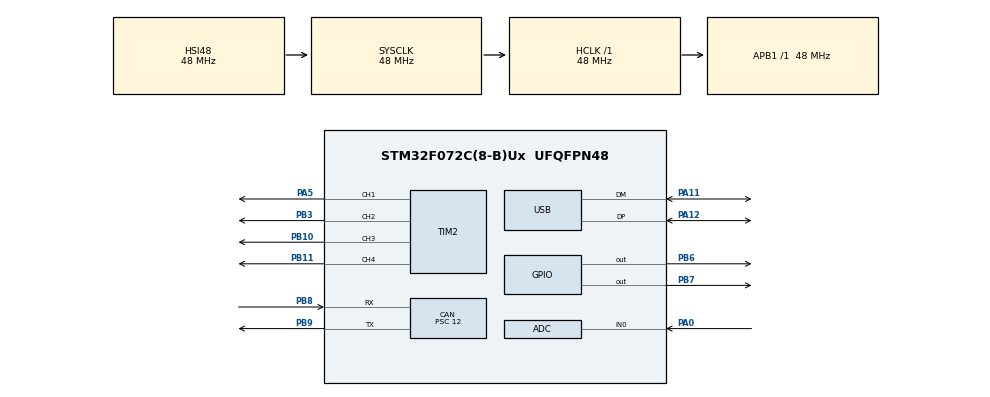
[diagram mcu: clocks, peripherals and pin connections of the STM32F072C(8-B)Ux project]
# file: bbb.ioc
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ADC.ClockPrescaler=ADC_CLOCK_ASYNC_DIV1
ADC.EnableAnalogWatchDog=false
CAN.BS1=CAN_BS1_2TQ
CAN.CalculateBaudRate=1000000
CAN.CalculateTimeBit=1000
CAN.CalculateTimeQuantum=250.0
CAN.Prescaler=12
CAN.RFLM=DISABLE
CAN.SJW=CAN_SJW_1TQ
Mcu.Family=STM32F0
Mcu.Name=STM32F072C(8-B)Ux
Mcu.Package=UFQFPN48
NVIC.ADC1_COMP_IRQn=true\:0\:0\:false\:false\:true\:true\:true\:true
NVIC.CEC_CAN_IRQn=true\:0\:0\:false\:false\:true\:true\:true\:true
NVIC.TIM3_IRQn=true\:0\:0\:false\:false\:true\:true\:true\:true
NVIC.USB_IRQn=true\:0\:0\:false\:false\:true\:false\:true\:true
PA0.Mode=IN0
PA0.Signal=ADC_IN0
PA1.Signal=ADC_IN1
PA11.Mode=Device
PA11.Signal=USB_DM
PA12.Mode=Device
PA12.Signal=USB_DP
PA13.Mode=Serial_Wire
PA13.Signal=SYS_SWDIO
PA14.Mode=Serial_Wire
PA14.Signal=SYS_SWCLK
PA2.Signal=ADC_IN2
PA3.Signal=ADC_IN3
PA5.Signal=S_TIM2_CH1_ETR
PB10.Signal=S_TIM2_CH3
PB11.Signal=S_TIM2_CH4
PB3.Signal=S_TIM2_CH2
PB6.GPIO_Speed=GPIO_SPEED_FREQ_HIGH
PB6.Signal=GPIO_Output
PB7.GPIO_Speed=GPIO_SPEED_FREQ_HIGH
PB7.Signal=GPIO_Output
PB8.Mode=CAN_Activate
PB8.Signal=CAN_RX
PB9.Mode=CAN_Activate
PB9.Signal=CAN_TX
ProjectManager.HeapSize=0x400
ProjectManager.StackSize=0x800
ProjectManager.TargetToolchain=STM32CubeIDE
RCC.AHBFreq_Value=48000000
RCC.APB1Freq_Value=48000000
RCC.APB1TimFreq_Value=48000000
RCC.HCLKFreq_Value=48000000
RCC.SYSCLKFreq_VALUE=48000000
RCC.SYSCLKSource=RCC_SYSCLKSOURCE_HSI48
SH.S_TIM2_CH1_ETR.0=TIM2_CH1,PWM Generation1 CH1
SH.S_TIM2_CH2.0=TIM2_CH2,PWM Generation2 CH2
SH.S_TIM2_CH3.0=TIM2_CH3,PWM Generation3 CH3
SH.S_TIM2_CH4.0=TIM2_CH4,PWM Generation4 CH4
TIM1.Prescaler=47
TIM2.Channel-PWM\ Generation1\ CH1=TIM_CHANNEL_1
TIM2.Channel-PWM\ Generation2\ CH2=TIM_CHANNEL_2
TIM2.Channel-PWM\ Generation3\ CH3=TIM_CHANNEL_3
TIM2.Channel-PWM\ Generation4\ CH4=TIM_CHANNEL_4
TIM3.Period=1000 - 1
TIM3.Prescaler=48 - 1
USB_DEVICE.CLASS_NAME_FS=CDC
USB_DEVICE.VirtualMode=Cdc
USB_DEVICE.VirtualModeFS=Cdc_FS
VP_TIM1_VS_ClockSourceINT.Mode=Internal
VP_TIM3_VS_ClockSourceINT.Mode=Internal
VP_USB_DEVICE_VS_USB_DEVICE_CDC_FS.Mode=CDC_FS
board=custom

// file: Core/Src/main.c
/* USER CODE BEGIN Header */
/**
  ******************************************************************************
  * @file           : main.c
  * @brief          : Main program body
  ******************************************************************************
  * @attention
  *
  * Copyright (c) 2023 STMicroelectronics.
  * All rights reserved.
  *
  * This software is licensed under terms that can be found in the LICENSE file
  * in the root directory of this software component.
  * If no LICENSE file comes with this software, it is provided AS-IS.
  *
  ******************************************************************************
  */
/* USER CODE END Header */
#include "main.h"
#include "usb_device.h"

/* USER CODE BEGIN Includes */
#include "io_i2c.h"
#include "MyWeight.h"
#include "MyMotor.h"
#include "MyForceControl.h"
/* USER CODE END Includes */

/* USER CODE BEGIN PM */
uint32_t ticks_now=0;
uint32_t mtime_now=0;

bool motor_flag = false;
bool report_flag = false;
int motor_response_flag;

MOTORMODE motor_mode = UNDEFINED;
MOTORTASK motor_task = NORMAL;
uint8_t safe_counter = 0;

int16_t now_force;
extern int16_t now_current;
extern int16_t now_speed;
extern int16_t now_tick;
extern int32_t now_pos;
extern uint16_t pos0_r;
extern int32_t now_r;

int32_t keep_pos=0;
uint8_t keep_goal_cnt=0;
uint8_t data_list[11];
int16_t goal_force;
float goal_speed = 0;
int16_t goal_pos =0;
/* USER CODE END PM */

ADC_HandleTypeDef hadc;

CAN_HandleTypeDef hcan;

TIM_HandleTypeDef htim1;
TIM_HandleTypeDef htim2;
TIM_HandleTypeDef htim3;

/* USER CODE BEGIN PV */
uint8_t MCP4725_WriteData_Voltage(uint16_t Vout); // mV
void delay_us(uint32_t nus);
/* USER CODE END PV */

void SystemClock_Config(void);
static void MX_GPIO_Init(void);
static void MX_CAN_Init(void);
static void MX_TIM2_Init(void);
static void MX_TIM3_Init(void);
static void MX_ADC_Init(void);
static void MX_TIM1_Init(void);
/* USER CODE BEGIN PFP */
bool safe_check_func()
{
	  if(safe_counter >= 150 && (myabs(now_current)>2000 || now_force > 1500))
	  {
		  safe_counter=0;
		  return false;
	  }
	  return true;
}
void set_zero()
{
	  get_motor_info(&hcan);
	  motor_response_flag = 0x9C;
	  while(motor_response_flag);
	  now_r = 0;
	  pos0_r = now_tick;
}
/* USER CODE END PFP */

int main(void)
{

  /* MCU Configuration--------------------------------------------------------*/

  /* Reset of all peripherals, Initializes the Flash interface and the Systick. */
  HAL_Init();

  /* Configure the system clock */
  SystemClock_Config();

  /* Initialize all configured peripherals */
  MX_GPIO_Init();
  MX_CAN_Init();
  MX_TIM2_Init();
  MX_TIM3_Init();
  MX_ADC_Init();
  MX_TIM1_Init();
  MX_USB_DEVICE_Init();
  /* USER CODE BEGIN 2 */
  IIC_Init();
  HAL_TIM_PWM_Start(&htim2, TIM_CHANNEL_4);
  HAL_ADCEx_Calibration_Start(&hadc);
  HAL_TIM_Base_Start_IT(&htim3);
  MCP4725_WriteData_Voltage(160);

  start_Motor(&hcan);
  float zerosum=0;
  for(int i=0;i<50;i++)
  {
	  zerosum+=GetNowWeight(&hadc);
	  HAL_Delay(1);
  }
  zeropoint += zerosum/50/weighttime;
  motor_task = SETZERO;
  motor_mode = SPEED;
  safe_counter=0;

  /* USER CODE END 2 */

  /* Infinite loop */
  /* USER CODE BEGIN WHILE */
  while (1)
  {
	  if (motor_flag == true) {//1ms
		  motor_flag=false;
		  now_force=GetNowWeight(&hadc);

		  switch(motor_task)
		  {
		  case STOP:
			  stop_Motor(&hcan);
			  motor_task = NORMAL;
			  motor_mode = UNDEFINED;
			  break;
		  case START:
			  clear_error(&hcan);
			  start_Motor(&hcan);
			  motor_task = NORMAL;
			  motor_mode = UNDEFINED;
			  break;
		  case SETZERO:
			  goal_speed = -300;
			  if(now_pos == keep_pos)
				  keep_goal_cnt++;
			  else
			  {
				  keep_goal_cnt=0;
				  keep_pos=now_pos;
			  }
			  if(safe_check_func()==false || keep_goal_cnt>=400)
			  {
				  keep_goal_cnt = 0;
				  stop_Motor(&hcan);
				  HAL_Delay(200);
				  set_zero();
				  start_Motor(&hcan);
				  motor_task = NORMAL;
				  motor_mode = UNDEFINED;
			  }
			  break;
		  case CONTACT:
			  if(now_force>20)
			  {
				  goal_speed = 0;
				  motor_task = STOP;
			  }
			  else
				  goal_speed = 800;
			  break;
		  case GOTO:
			  int16_t delta_pos = goal_pos - now_pos/100;
			  if(myabs(delta_pos) < 3)
			  {
				  keep_goal_cnt++;
				  if(keep_goal_cnt >=10)
				  {
					  keep_goal_cnt =0;
					  motor_task = NORMAL;
					  motor_mode = POS;
				  }
			  }
			  else
				  keep_goal_cnt=0;
			  break;
		  case SETFORCE:
			  int16_t delta_force = goal_force - now_force;
			  if(myabs(delta_force)<5)
			  {
				  keep_goal_cnt++;
				  if(keep_goal_cnt >=10)
				  {
					  keep_goal_cnt =0;
					  motor_task = NORMAL;
					  motor_mode = FORCE;
				  }
			  }
			  else
				  keep_goal_cnt=0;

			  break;
		  case NORMAL:
		  }

		  switch(motor_mode)
		  {
			  case SPEED:
				  set_Motor_Speed(&hcan,goal_speed);
				  break;
			  case POS:
				  goal_speed =get_pos_goal_speed(now_pos,goal_pos);
				  set_Motor_Speed(&hcan,goal_speed);
				  break;
			  case FORCE:
				  goal_speed = get_goal_velocity(now_force,goal_force);
				  set_Motor_Speed(&hcan,goal_speed);
				  break;
			  case UNDEFINED:
				  get_motor_info(&hcan);
				  break;
		  }

		  /*safety check*/
		  if(motor_task != SETZERO && safe_check_func()==false)
		  {
			  stop_Motor(&hcan);
			  motor_task = STOP;
		  }
	  }
	  if ((report_flag) == true) {//10ms
		  data_list[0]=motor_task;
		  data_list[1]=(now_force)>>8;
		  data_list[2]=(now_force)&0xff;
		  data_list[3]=(goal_force)>>8;
		  data_list[4]=(goal_force)&0xff;
		  data_list[5]=(now_pos >>24) & 0xff;
		  data_list[6]=(now_pos >>16) & 0xff;
		  data_list[7]=(now_pos >>8) & 0xff;
		  data_list[8]=now_pos & 0xff;
		  CDC_Transmit_FS(data_list,9);
		  report_flag = false;
	  }
    /* USER CODE END WHILE */

  }
}

void SystemClock_Config(void)
{
  RCC_OscInitTypeDef RCC_OscInitStruct = {0};
  RCC_ClkInitTypeDef RCC_ClkInitStruct = {0};
  RCC_PeriphCLKInitTypeDef PeriphClkInit = {0};

  /** Initializes the RCC Oscillators according to the specified parameters
  * in the RCC_OscInitTypeDef structure.
  */
  RCC_OscInitStruct.OscillatorType = RCC_OSCILLATORTYPE_HSI14|RCC_OSCILLATORTYPE_HSI48;
  RCC_OscInitStruct.HSI48State = RCC_HSI48_ON;
  RCC_OscInitStruct.HSI14State = RCC_HSI14_ON;
  RCC_OscInitStruct.HSI14CalibrationValue = 16;
  RCC_OscInitStruct.PLL.PLLState = RCC_PLL_NONE;
  if (HAL_RCC_OscConfig(&RCC_OscInitStruct) != HAL_OK)
  {
    Error_Handler();
  }

  /** Initializes the CPU, AHB and APB buses clocks
  */
  RCC_ClkInitStruct.ClockType = RCC_CLOCKTYPE_HCLK|RCC_CLOCKTYPE_SYSCLK
                              |RCC_CLOCKTYPE_PCLK1;
  RCC_ClkInitStruct.SYSCLKSource = RCC_SYSCLKSOURCE_HSI48;
  RCC_ClkInitStruct.AHBCLKDivider = RCC_SYSCLK_DIV1;
  RCC_ClkInitStruct.APB1CLKDivider = RCC_HCLK_DIV1;

  if (HAL_RCC_ClockConfig(&RCC_ClkInitStruct, FLASH_LATENCY_1) != HAL_OK)
  {
    Error_Handler();
  }
  PeriphClkInit.PeriphClockSelection = RCC_PERIPHCLK_USB;
  PeriphClkInit.UsbClockSelection = RCC_USBCLKSOURCE_HSI48;

  if (HAL_RCCEx_PeriphCLKConfig(&PeriphClkInit) != HAL_OK)
  {
    Error_Handler();
  }
}

static void MX_ADC_Init(void)
{

  ADC_ChannelConfTypeDef sConfig = {0};

  /** Configure the global features of the ADC (Clock, Resolution, Data Alignment and number of conversion)
  */
  hadc.Instance = ADC1;
  hadc.Init.ClockPrescaler = ADC_CLOCK_ASYNC_DIV1;
  hadc.Init.Resolution = ADC_RESOLUTION_12B;
  hadc.Init.DataAlign = ADC_DATAALIGN_RIGHT;
  hadc.Init.ScanConvMode = ADC_SCAN_DIRECTION_FORWARD;
  hadc.Init.EOCSelection = ADC_EOC_SINGLE_CONV;
  hadc.Init.LowPowerAutoWait = DISABLE;
  hadc.Init.LowPowerAutoPowerOff = DISABLE;
  hadc.Init.ContinuousConvMode = DISABLE;
  hadc.Init.DiscontinuousConvMode = DISABLE;
  hadc.Init.ExternalTrigConv = ADC_SOFTWARE_START;
  hadc.Init.ExternalTrigConvEdge = ADC_EXTERNALTRIGCONVEDGE_NONE;
  hadc.Init.DMAContinuousRequests = DISABLE;
  hadc.Init.Overrun = ADC_OVR_DATA_PRESERVED;
  if (HAL_ADC_Init(&hadc) != HAL_OK)
  {
    Error_Handler();
  }

  /** Configure for the selected ADC regular channel to be converted.
  */
  sConfig.Channel = ADC_CHANNEL_0;
  sConfig.Rank = ADC_RANK_CHANNEL_NUMBER;
  sConfig.SamplingTime = ADC_SAMPLETIME_1CYCLE_5;
  if (HAL_ADC_ConfigChannel(&hadc, &sConfig) != HAL_OK)
  {
    Error_Handler();
  }

}

static void MX_CAN_Init(void)
{

  hcan.Instance = CAN;
  hcan.Init.Prescaler = 12;
  hcan.Init.Mode = CAN_MODE_NORMAL;
  hcan.Init.SyncJumpWidth = CAN_SJW_1TQ;
  hcan.Init.TimeSeg1 = CAN_BS1_2TQ;
  hcan.Init.TimeSeg2 = CAN_BS2_1TQ;
  hcan.Init.TimeTriggeredMode = DISABLE;
  hcan.Init.AutoBusOff = DISABLE;
  hcan.Init.AutoWakeUp = DISABLE;
  hcan.Init.AutoRetransmission = DISABLE;
  hcan.Init.ReceiveFifoLocked = DISABLE;
  hcan.Init.TransmitFifoPriority = DISABLE;
  if (HAL_CAN_Init(&hcan) != HAL_OK)
  {
    Error_Handler();
  }
  /* USER CODE BEGIN CAN_Init 2 */
  CANFilter_init(&hcan);
  /* USER CODE END CAN_Init 2 */

}

static void MX_TIM1_Init(void)
{

  TIM_ClockConfigTypeDef sClockSourceConfig = {0};
  TIM_MasterConfigTypeDef sMasterConfig = {0};

  htim1.Instance = TIM1;
  htim1.Init.Prescaler = 47;
  htim1.Init.CounterMode = TIM_COUNTERMODE_UP;
  htim1.Init.Period = 65535;
  htim1.Init.ClockDivision = TIM_CLOCKDIVISION_DIV1;
  htim1.Init.RepetitionCounter = 0;
  htim1.Init.AutoReloadPreload = TIM_AUTORELOAD_PRELOAD_DISABLE;
  if (HAL_TIM_Base_Init(&htim1) != HAL_OK)
  {
    Error_Handler();
  }
  sClockSourceConfig.ClockSource = TIM_CLOCKSOURCE_INTERNAL;
  if (HAL_TIM_ConfigClockSource(&htim1, &sClockSourceConfig) != HAL_OK)
  {
    Error_Handler();
  }
  sMasterConfig.MasterOutputTrigger = TIM_TRGO_RESET;
  sMasterConfig.MasterSlaveMode = TIM_MASTERSLAVEMODE_DISABLE;
  if (HAL_TIMEx_MasterConfigSynchronization(&htim1, &sMasterConfig) != HAL_OK)
  {
    Error_Handler();
  }

}

static void MX_TIM2_Init(void)
{

  TIM_MasterConfigTypeDef sMasterConfig = {0};
  TIM_OC_InitTypeDef sConfigOC = {0};

  htim2.Instance = TIM2;
  htim2.Init.Prescaler = 0;
  htim2.Init.CounterMode = TIM_COUNTERMODE_UP;
  htim2.Init.Period = 4294967295;
  htim2.Init.ClockDivision = TIM_CLOCKDIVISION_DIV1;
  htim2.Init.AutoReloadPreload = TIM_AUTORELOAD_PRELOAD_DISABLE;
  if (HAL_TIM_PWM_Init(&htim2) != HAL_OK)
  {
    Error_Handler();
  }
  sMasterConfig.MasterOutputTrigger = TIM_TRGO_RESET;
  sMasterConfig.MasterSlaveMode = TIM_MASTERSLAVEMODE_DISABLE;
  if (HAL_TIMEx_MasterConfigSynchronization(&htim2, &sMasterConfig) != HAL_OK)
  {
    Error_Handler();
  }
  sConfigOC.OCMode = TIM_OCMODE_PWM1;
  sConfigOC.Pulse = 0;
  sConfigOC.OCPolarity = TIM_OCPOLARITY_HIGH;
  sConfigOC.OCFastMode = TIM_OCFAST_DISABLE;
  if (HAL_TIM_PWM_ConfigChannel(&htim2, &sConfigOC, TIM_CHANNEL_1) != HAL_OK)
  {
    Error_Handler();
  }
  if (HAL_TIM_PWM_ConfigChannel(&htim2, &sConfigOC, TIM_CHANNEL_2) != HAL_OK)
  {
    Error_Handler();
  }
  if (HAL_TIM_PWM_ConfigChannel(&htim2, &sConfigOC, TIM_CHANNEL_3) != HAL_OK)
  {
    Error_Handler();
  }
  if (HAL_TIM_PWM_ConfigChannel(&htim2, &sConfigOC, TIM_CHANNEL_4) != HAL_OK)
  {
    Error_Handler();
  }
  HAL_TIM_MspPostInit(&htim2);

}

static void MX_TIM3_Init(void)
{

  TIM_ClockConfigTypeDef sClockSourceConfig = {0};
  TIM_MasterConfigTypeDef sMasterConfig = {0};

  htim3.Instance = TIM3;
  htim3.Init.Prescaler = 48 - 1;
  htim3.Init.CounterMode = TIM_COUNTERMODE_UP;
  htim3.Init.Period = 1000 - 1;
  htim3.Init.ClockDivision = TIM_CLOCKDIVISION_DIV1;
  htim3.Init.AutoReloadPreload = TIM_AUTORELOAD_PRELOAD_DISABLE;
  if (HAL_TIM_Base_Init(&htim3) != HAL_OK)
  {
    Error_Handler();
  }
  sClockSourceConfig.ClockSource = TIM_CLOCKSOURCE_INTERNAL;
  if (HAL_TIM_ConfigClockSource(&htim3, &sClockSourceConfig) != HAL_OK)
  {
    Error_Handler();
  }
  sMasterConfig.MasterOutputTrigger = TIM_TRGO_RESET;
  sMasterConfig.MasterSlaveMode = TIM_MASTERSLAVEMODE_DISABLE;
  if (HAL_TIMEx_MasterConfigSynchronization(&htim3, &sMasterConfig) != HAL_OK)
  {
    Error_Handler();
  }

}

static void MX_GPIO_Init(void)
{
  GPIO_InitTypeDef GPIO_InitStruct = {0};

  /* GPIO Ports Clock Enable */
  __HAL_RCC_GPIOA_CLK_ENABLE();
  __HAL_RCC_GPIOB_CLK_ENABLE();

  /*Configure GPIO pin Output Level */
  HAL_GPIO_WritePin(GPIOB, GPIO_PIN_6|GPIO_PIN_7, GPIO_PIN_RESET);

  /*Configure GPIO pins : PB6 PB7 */
  GPIO_InitStruct.Pin = GPIO_PIN_6|GPIO_PIN_7;
  GPIO_InitStruct.Mode = GPIO_MODE_OUTPUT_PP;
  GPIO_InitStruct.Pull = GPIO_NOPULL;
  GPIO_InitStruct.Speed = GPIO_SPEED_FREQ_HIGH;
  HAL_GPIO_Init(GPIOB, &GPIO_InitStruct);

}

/* USER CODE BEGIN 4 */

uint8_t MCP4725_WriteData_Voltage(uint16_t Vout)
{
	uint8_t temp;
	uint16_t Dn = (4096 * Vout) / 5000;
	temp = (0x0F00 & Dn) >> 8;
	IIC_Start();
	IIC_Send_Byte(0XC0);
	IIC_Wait_Ack();
	IIC_Send_Byte(temp);
	IIC_Wait_Ack();
	IIC_Send_Byte(Dn);
	IIC_Wait_Ack();
	IIC_Stop();
	return 0;
}

void HAL_TIM_PeriodElapsedCallback(TIM_HandleTypeDef *htim)
{
  if (htim->Instance == TIM3)
  {
    if (safe_counter<150)
	    safe_counter++;
	motor_flag = true;
	mtime_now++;
	if(mtime_now == 10)
	{
		report_flag = true;
		mtime_now=0;
	}
  }
}

void delay_us(uint32_t nus)
{
	/* Go to clock cycles */
	// 48MHz / 1MHz / 6clk = 8
	uint32_t cnt = nus * 8 - 4;
	/* Wait till done */
	__asm volatile(
		"  mov   r0, %[cnt] \n\t"
		"1: \n\t"
		"  sub  r0, r0, #1 \n\t" // 2 clk
		"  bhi   1b \n\t"     // 4 clk
		:
		: [cnt] "r" (cnt)
		: "r0"
	);
}
/* USER CODE END 4 */

void Error_Handler(void)
{
  __disable_irq();
  while (1)
  {
  }
}
